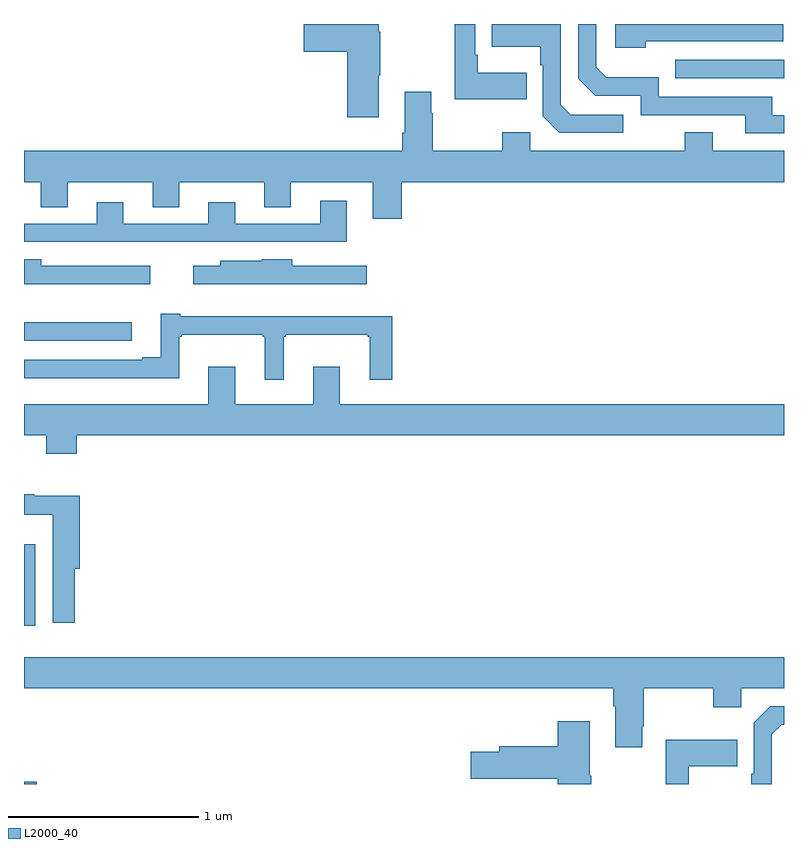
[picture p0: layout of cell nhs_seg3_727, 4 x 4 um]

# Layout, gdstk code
import gdstk
lib = gdstk.Library(unit=1e-6, precision=1e-09)
def R(c, l, rs):  # rectangles x0, y0, x1, y1
    for r in rs: c.add(gdstk.rectangle(r[:2], r[2:], *l))
def P(c, l, *ps):  # polygons
    for p in ps: c.add(gdstk.Polygon(p, *l))
L2000_40 = (2000, 40)

nhs_seg3_727 = lib.new_cell('nhs_seg3_727')
R(nhs_seg3_727, L2000_40, [(147,712.4,147.067,712.412), (147,713.232,147.058,713.662), (147,714.732,147.568,714.83), (150.427,716.115,151,716.211)])
P(nhs_seg3_727, L2000_40, [(148.867,716.131),(148.875,716.131),(148.875,716.359),(148.867,716.359),(148.867,716.4),(148.472,716.4),(148.472,716.255),(148.7,716.255),(148.7,715.908),(148.867,715.908)],
  [(150.154,715.923),(149.877,715.923),(149.826,715.974),(149.826,716.4),(149.461,716.4),(149.461,716.279),(149.718,716.279),(149.718,716.183),(149.73,716.183),(149.73,715.914),(149.817,715.827),(150.154,715.827)],
  [(150.272,716.31),(150.996,716.31),(150.996,716.4),(150.111,716.4),(150.111,716.276),(150.272,716.276)],
  [(149.645,716.143),(149.389,716.143),(149.389,716.239),(149.376,716.239),(149.376,716.4),(149.268,716.4),(149.268,716.003),(149.645,716.003)],
  [(151,715.92),(150.937,715.92),(150.937,716.016),(150.342,716.016),(150.342,716.119),(150.065,716.119),(150.012,716.172),(150.012,716.4),(149.916,716.4),(149.916,716.112),(150.006,716.022),(150.246,716.022),(150.246,715.92),(150.797,715.92),(150.797,715.824),(151,715.824)],
  [(148.988,715.568),(151,715.568),(151,715.732),(150.625,715.732),(150.625,715.831),(150.478,715.831),(150.478,715.732),(149.664,715.732),(149.664,715.831),(149.518,715.831),(149.518,715.732),(149.151,715.732),(149.151,715.931),(149.143,715.931),(149.143,716.044),(149.003,716.044),(149.003,715.828),(148.991,715.828),(148.991,715.732),(147,715.732),(147,715.568),(147.089,715.568),(147.089,715.435),(147.229,715.435),(147.229,715.568),(147.677,715.568),(147.677,715.435),(147.817,715.435),(147.817,715.568),(148.265,715.568),(148.265,715.435),(148.405,715.435),(148.405,715.568),(148.835,715.568),(148.835,715.374),(148.988,715.374)],
  [(148.699,715.471),(148.559,715.471),(148.559,715.35),(148.111,715.35),(148.111,715.462),(147.971,715.462),(147.971,715.35),(147.523,715.35),(147.523,715.462),(147.383,715.462),(147.383,715.35),(147,715.35),(147,715.254),(148.699,715.254)],
  [(147.664,715.128),(147.091,715.128),(147.091,715.162),(147,715.162),(147,715.031),(147.664,715.031)],
  [(148.804,715.128),(148.411,715.128),(148.411,715.162),(148.251,715.162),(148.251,715.153),(148.032,715.153),(148.032,715.128),(147.891,715.128),(147.891,715.031),(148.804,715.031)],
  [(148.366,714.753),(148.378,714.753),(148.378,714.764),(148.809,714.764),(148.809,714.753),(148.82,714.753),(148.82,714.528),(148.937,714.528),(148.937,714.862),(147.823,714.862),(147.823,714.874),(147.719,714.874),(147.719,714.646),(147.623,714.646),(147.623,714.633),(147,714.633),(147,714.536),(147.817,714.536),(147.817,714.753),(147.829,714.753),(147.829,714.764),(148.257,714.764),(148.257,714.753),(148.268,714.753),(148.268,714.528),(148.366,714.528)],
  [(147.278,714.236),(151,714.236),(151,714.4),(148.663,714.4),(148.663,714.595),(148.523,714.595),(148.523,714.4),(148.111,714.4),(148.111,714.595),(147.971,714.595),(147.971,714.4),(147,714.4),(147,714.236),(147.118,714.236),(147.118,714.137),(147.278,714.137)],
  [(147.266,713.534),(147.293,713.534),(147.293,713.916),(147.053,713.916),(147.053,713.926),(147,713.926),(147,713.816),(147.15,713.816),(147.15,713.25),(147.266,713.25)],
  [(150.253,712.705),(150.261,712.705),(150.261,712.904),(150.628,712.904),(150.628,712.805),(150.774,712.805),(150.774,712.904),(151,712.904),(151,713.068),(147,713.068),(147,712.904),(150.101,712.904),(150.101,712.808),(150.113,712.808),(150.113,712.593),(150.253,712.593)],
  [(150.936,712.662),(150.987,712.713),(151,712.713),(151,712.809),(150.927,712.809),(150.84,712.722),(150.84,712.453),(150.828,712.453),(150.828,712.4),(150.936,712.4)],
  [(149.985,712.443),(149.977,712.443),(149.977,712.729),(149.81,712.729),(149.81,712.599),(149.501,712.599),(149.501,712.569),(149.352,712.569),(149.352,712.427),(149.81,712.427),(149.81,712.4),(149.985,712.4)],
  [(150.499,712.493),(150.755,712.493),(150.755,712.633),(150.378,712.633),(150.378,712.4),(150.499,712.4)])

lib.write_gds('nhs_seg3_727.gds')
